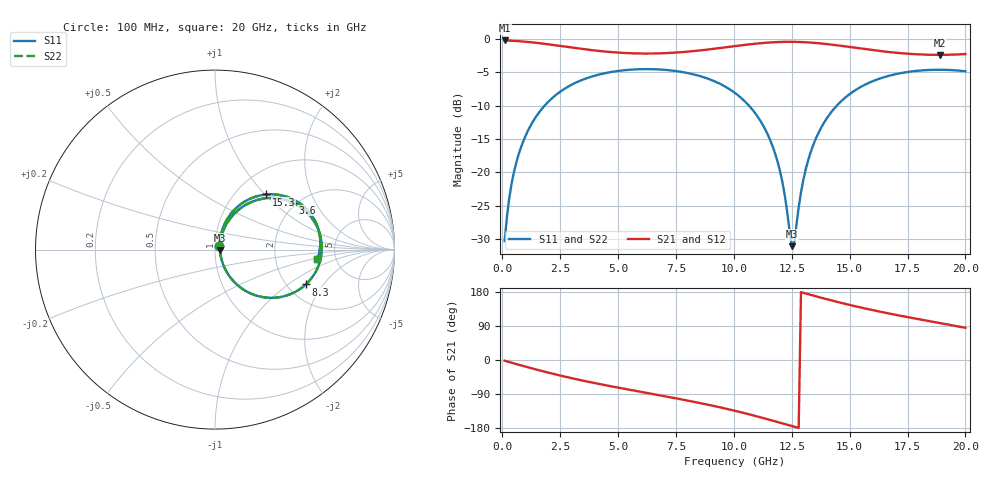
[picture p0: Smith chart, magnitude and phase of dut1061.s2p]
! Touchstone file exported from HFSS 2026.1.0
!  File:  C:/ffzhzh/LocalFiles/Ansys_Project_Files/temp_train_TSV_RDL_1061_1783298191_39728.aedt
!  Generated:  08:46:35 AM Jul  6, 2026
!  Design:  TSV_RDL
!  Project:  temp_train_TSV_RDL_1061_1783298191_39728
! Variables:
!  h_bsmrdl = 2.94um
!  h_ox = 20um
!  h_rdl = 5um
!  h_sub = 90.18um
!  h_tmrdl = 4.44um
!  h_tsv = 90.18um
!  h_via = 3um
!  l_bsmrdl = 658.04um
!  l_sub = 4553.95um
!  l_tmrdl = 517.5um
!  m_sub = 200um
!  pitch = 55.57um
!  r_tsv = 9.88um
!  s_tmrdl = 10um
!  w_bsmrdl = 22um
!  w_sub = 500um
!  w_tmrdl = 14.61um
!  x_tsv_center1 = 524.805um
!  x_tsv_center2 = 1204.845um
!  x_tsv_center3 = 1736.955um
!  x_tsv_center4 = 2416.995um
!  x_tsv_center5 = 2949.105um
!  x_tsv_center6 = 3629.145um
# GHz S MA R 50.000000
! Terminal data exported
! Port[1] = TM_RDL1_1_T1
! Port[2] = TM_RDL5_1_T1
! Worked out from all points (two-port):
!   200 points, 100 MHz to 20 GHz, reference 50 ohm
!   highest |S21| = -0.20 dB at 100 MHz (marker M1); lowest = -2.4 dB at 18.9 GHz (marker M2)
!   |S21| within 3 dB of the highest: start of sweep to end of sweep
!   lowest |S11| = -31.1 dB at 12.5 GHz (marker M3), VSWR 1.06, Z = 52.8 - j0.529 ohm
!   |S11| at or under -10 dB: start of sweep to 1.824 GHz; 10.66 GHz to 14.44 GHz (3.787 GHz wide, 30.2 % of centre)
!   |S22| runs from -31.1 to -4.5 dB; largest |S21 - S12| = 1.7e-14
!   S11 on the Smith chart (normalised r, x): 100 MHz: 1.05, +0.04; 3.6 GHz: 1.91, +1.34; 8.3 GHz: 2.50, -1.38; 15.3 GHz: 1.36, +1.02; 20 GHz: 3.60, -0.54
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0.1  0.03049 39.4  0.9769 -1.8  0.9769 -1.8  0.03049 39.4
! Gamma 0 0 0 0
! Port Impedance 50 0 50 0
0.3  0.06394 62.3  0.9739 -5.4  0.9739 -5.4  0.06394 62.3
0.5  0.09987 66.2  0.9697 -8.9  0.9697 -8.9  0.09987 66.2
1.1  0.204 63.2  0.9521 -19.1  0.9521 -19.1  0.204 63.2
2.1  0.3539 50.5  0.9082 -35.1  0.9082 -35.1  0.3539 50.5
3.5  0.4981 32.4  0.8409 -54.7  0.8409 -54.7  0.4981 32.4
3.6  0.5055 31.2  0.8367 -56.0  0.8367 -56.0  0.5055 31.2
6.8  0.5916 -4.3  0.7818 -93.1  0.7818 -93.1  0.5915 -4.4
8.3  0.5417 -21.0  0.8141 -110.6  0.8141 -110.6  0.5417 -21.0
10.1  0.3884 -43.4  0.8884 -134.8  0.8884 -134.8  0.3884 -43.4
11  0.2662 -55.1  0.9262 -148.8  0.9262 -148.8  0.2662 -55.2
11.7  0.1527 -62.1  0.9468 -160.4  0.9468 -160.4  0.1526 -62.1
12.1  0.08403 -60.2  0.953 -167.2  0.953 -167.2  0.08394 -60.3
12.5  0.02795 -10.3  0.9543 -174.1  0.9543 -174.1  0.02778 -10.3
12.6  0.02925 25.0  0.9539 -175.8  0.9539 -175.8  0.0291 25.2
13  0.08761 68.0  0.949 177.3  0.949 177.3  0.08759 68.1
13.4  0.1556 69.3  0.9395 170.5  0.9395 170.5  0.1557 69.4
14.2  0.282 61.2  0.9099 157.4  0.9099 157.4  0.282 61.2
15.3  0.4195 47.1  0.8582 141.0  0.8582 141.0  0.4195 47.1
16.7  0.5306 30.2  0.7995 122.7  0.7995 122.7  0.5306 30.2
18.9  0.589 6.5  0.7617 97.5  0.7617 97.5  0.589 6.5
20  0.5733 -5.1  0.7723 85.0  0.7723 85.0  0.5732 -5.1
